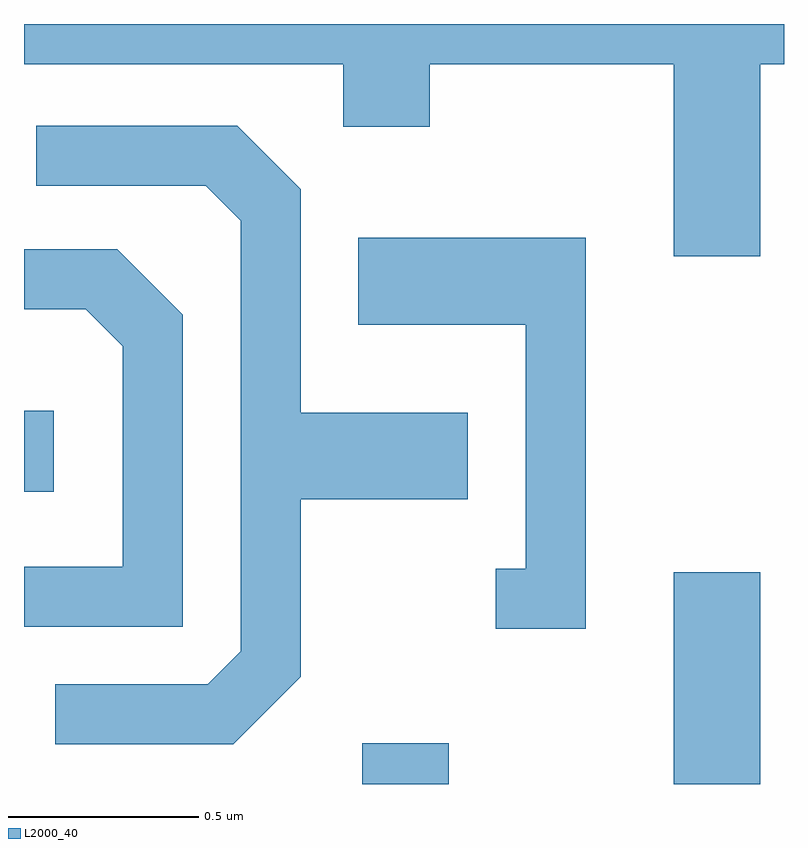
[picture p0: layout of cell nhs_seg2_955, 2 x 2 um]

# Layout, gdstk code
import gdstk
lib = gdstk.Library(unit=1e-6, precision=1e-09)
def R(c, l, rs):  # rectangles x0, y0, x1, y1
    for r in rs: c.add(gdstk.rectangle(r[:2], r[2:], *l))
def P(c, l, *ps):  # polygons
    for p in ps: c.add(gdstk.Polygon(p, *l))
L2000_40 = (2000, 40)

nhs_seg2_955 = lib.new_cell('nhs_seg2_955')
R(nhs_seg2_955, L2000_40, [(192.501,1110.802,192.729,1110.909), (193.321,1110.802,193.549,1111.359), (191.611,1111.571,191.689,1111.784)])
P(nhs_seg2_955, L2000_40, [(193.549,1112.696),(193.611,1112.696),(193.611,1112.802),(191.611,1112.802),(191.611,1112.696),(192.451,1112.696),(192.451,1112.531),(192.679,1112.531),(192.679,1112.696),(193.321,1112.696),(193.321,1112.191),(193.549,1112.191)],
  [(192.339,1111.084),(192.339,1111.551),(192.779,1111.551),(192.779,1111.779),(192.339,1111.779),(192.339,1112.367),(192.172,1112.534),(191.643,1112.534),(191.643,1112.376),(192.089,1112.376),(192.181,1112.284),(192.181,1111.152),(192.094,1111.064),(191.693,1111.064),(191.693,1110.906),(192.162,1110.906)],
  [(193.089,1112.239),(192.491,1112.239),(192.491,1112.011),(192.931,1112.011),(192.931,1111.369),(192.853,1111.369),(192.853,1111.211),(193.089,1111.211)],
  [(192.029,1112.037),(191.857,1112.209),(191.611,1112.209),(191.611,1112.051),(191.774,1112.051),(191.871,1111.954),(191.871,1111.374),(191.611,1111.374),(191.611,1111.216),(192.029,1111.216)])

lib.write_gds('nhs_seg2_955.gds')
